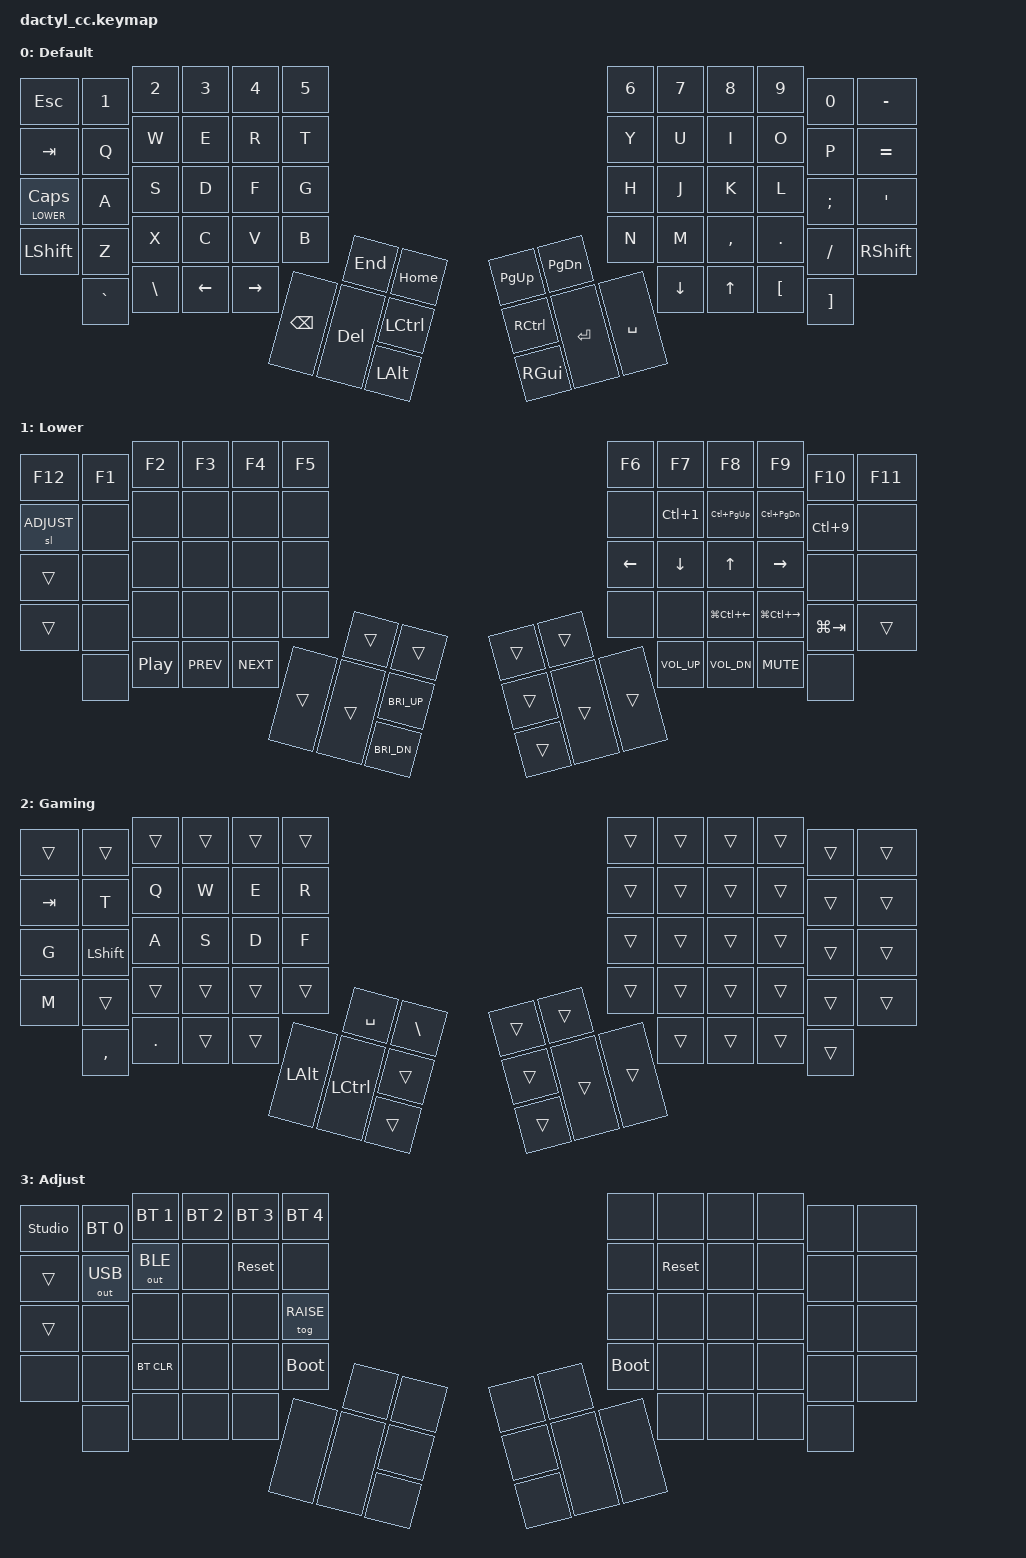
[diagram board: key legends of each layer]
#include <behaviors.dtsi>
#include <dt-bindings/zmk/keys.h>
#include <dt-bindings/zmk/bt.h>
#include <dt-bindings/zmk/outputs.h>

#define DEFAULT 0
#define LOWER   1
#define RAISE   2
#define ADJUST  3

&sl {
    release-after-ms = <5000>;
};

&kscan0 {
    debounce-press-ms = <30>;
    debounce-release-ms = <30>;
};

/ {
    keymap {
        compatible = "zmk,keymap";

        // Default layer. Modeled after the original Kinesis layout.
        // Left 2u keys: Backspace (outer), Delete (inner)
        // Right 2u keys: Space (outer), Enter (inner)
        default_layer {
            display-name = "Default";
            bindings = <
    &kp ESC        &kp N1    &kp N2   &kp N3    &kp N4    &kp N5                          &kp N6    &kp N7    &kp N8    &kp N9    &kp N0   &kp MINUS
    &kp TAB        &kp Q     &kp W    &kp E     &kp R     &kp T                           &kp Y     &kp U     &kp I     &kp O     &kp P    &kp EQUAL
    &lt LOWER CAPS &kp A     &kp S    &kp D     &kp F     &kp G                           &kp H     &kp J     &kp K     &kp L     &kp SEMI &kp SQT
    &kp LSHFT      &kp Z     &kp X    &kp C     &kp V     &kp B                           &kp N     &kp M     &kp COMMA &kp DOT   &kp FSLH &kp RSHFT
                   &kp GRAVE &kp BSLH &kp LEFT  &kp RIGHT                                           &kp DOWN  &kp UP    &kp LBKT  &kp RBKT
                                                          &kp LCTRL &kp LALT    &kp RGUI  &kp RCTRL
                                                                    &kp HOME    &kp PG_UP
                                                &kp END   &kp DEL   &kp BSPC    &kp SPACE &kp RET   &kp PG_DN
            >;
        };

        // Lower layer.
        lower_layer {
            display-name = "Lower";
            bindings = <
    &kp F12    &kp F1    &kp F2   &kp F3     &kp F4    &kp F5                              &kp F6        &kp F7       &kp F8           &kp F9            &kp F10     &kp F11
    &sl ADJUST &none     &none    &none      &none     &none                               &none         &kp LC(1)    &kp LC(PG_UP)    &kp LC(PG_DN)     &kp LC(9)   &none
    &trans     &none     &none    &none      &none     &none                               &kp LEFT      &kp DOWN     &kp UP           &kp RIGHT         &none       &none
    &trans     &none     &none    &none      &none     &none                               &none         &none        &kp LG(LC(LEFT)) &kp LG(LC(RIGHT)) &kp LG(TAB) &trans
               &none     &kp C_PP &kp C_PREV &kp C_NEXT                                                  &kp C_VOL_UP &kp C_VOL_DN     &kp C_MUTE        &none
                                                       &kp C_BRI_UP &kp C_BRI_DN &trans    &trans
                                                                    &trans       &trans
                                                &trans &trans       &trans       &trans    &trans    &trans
            >;
        };

        // Gaming overlay.
        raise_layer {
            display-name = "Gaming";
            bindings = <
    &trans    &trans    &trans   &trans    &trans    &trans                          &trans    &trans    &trans    &trans    &trans    &trans
    &kp TAB   &kp T     &kp Q    &kp W     &kp E     &kp R                           &trans    &trans    &trans    &trans    &trans    &trans
    &kp G     &kp LSHFT &kp A    &kp S     &kp D     &kp F                           &trans    &trans    &trans    &trans    &trans    &trans
    &kp M     &trans    &trans   &trans    &trans    &trans                          &trans    &trans    &trans    &trans    &trans    &trans
              &kp COMMA &kp DOT  &trans    &trans                                              &trans    &trans    &trans    &trans
                                                     &trans    &trans      &trans    &trans
                                                               &kp BSLH    &trans
                                            &kp SPACE &kp LCTRL &kp LALT    &trans    &trans    &trans
            >;
        };

        // Adjust layer. Contains system controls, overlay toggles, and ZMK Studio unlock.
        adjust_layer {
            display-name = "Adjust";
            bindings = <
    &studio_unlock &bt BT_SEL 0 &bt BT_SEL 1 &bt BT_SEL 2 &bt BT_SEL 3 &bt BT_SEL 4                      &none       &none      &none     &none     &none    &none
    &trans         &out OUT_USB &out OUT_BLE &none        &sys_reset   &none                             &none       &sys_reset &none     &none     &none    &none
    &trans         &none        &none        &none        &none        &tog RAISE                        &none       &none      &none     &none     &none    &none
    &none          &none        &bt BT_CLR   &none        &none        &bootloader                       &bootloader &none      &none     &none     &none    &none
                   &none        &none        &none        &none                                                      &none      &none     &none     &none
                                                                       &none       &none       &none     &none
                                                                                   &none       &none
                                                             &none     &none       &none       &none     &none     &none
            >;
        };
    };
};
